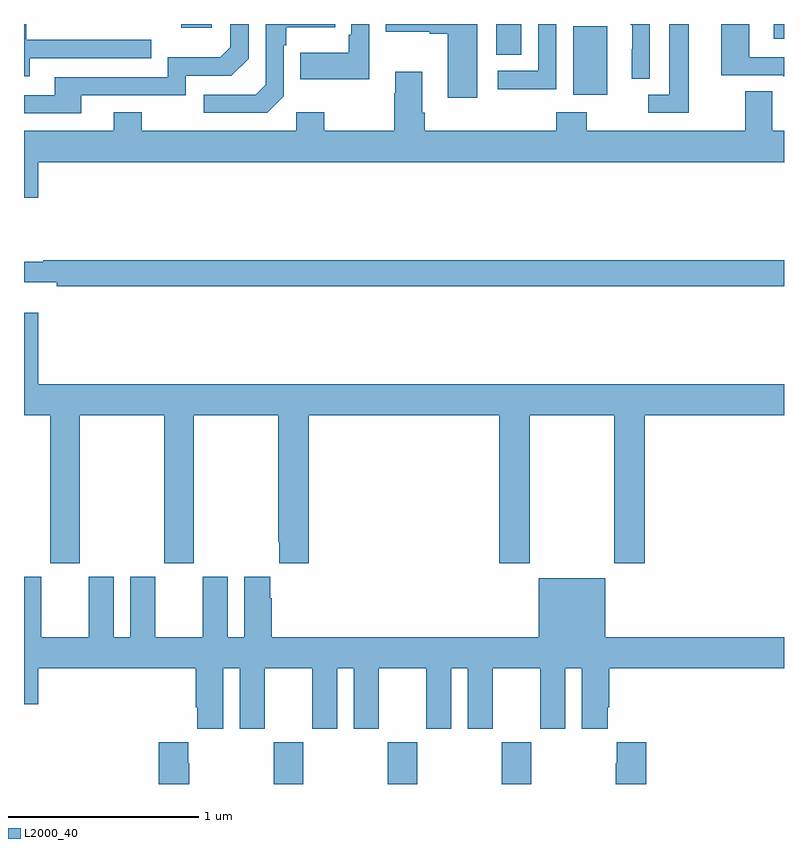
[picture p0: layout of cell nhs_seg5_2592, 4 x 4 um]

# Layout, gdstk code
import gdstk
lib = gdstk.Library(unit=1e-6, precision=1e-09)
def R(c, l, rs):  # rectangles x0, y0, x1, y1
    for r in rs: c.add(gdstk.rectangle(r[:2], r[2:], *l))
def A(c, l, x, y, w, h, nx, ny, dx, dy):  # array of equal rectangles
    R(c, l, [(x+i*dx, y+j*dy, x+i*dx+w, y+j*dy+h) for i in range(nx) for j in range(ny)])
def P(c, l, *ps):  # polygons
    for p in ps: c.add(gdstk.Polygon(p, *l))
L2000_40 = (2000, 40)

nhs_seg5_2592 = lib.new_cell('nhs_seg5_2592')
A(nhs_seg5_2592, L2000_40, 262.315, 874.799, 0.155, 0.221, 3, 1, 0.6, 0)
R(nhs_seg5_2592, L2000_40, [(263.891,878.426,264.07,878.787), (263.486,878.638,263.617,878.799), (264.947,878.721,265,878.799), (261.827,878.78,261.988,878.799)])
P(nhs_seg5_2592, L2000_40, [(261.031,878.619),(261.671,878.619),(261.671,878.715),(261.012,878.715),(261.012,878.799),(261,878.799),(261,878.525),(261.031,878.525)],
  [(262.818,878.799),(262.722,878.799),(262.722,878.743),(262.71,878.743),(262.71,878.647),(262.453,878.647),(262.453,878.507),(262.818,878.507)],
  [(261.301,878.424),(261.852,878.424),(261.852,878.526),(262.092,878.526),(262.182,878.616),(262.182,878.799),(262.086,878.799),(262.086,878.676),(262.033,878.623),(261.756,878.623),(261.756,878.52),(261.161,878.52),(261.161,878.424),(261,878.424),(261,878.328),(261.301,878.328)],
  [(262.368,878.418),(262.368,878.687),(262.381,878.687),(262.381,878.783),(262.637,878.783),(262.637,878.799),(262.272,878.799),(262.272,878.478),(262.221,878.427),(261.945,878.427),(261.945,878.331),(262.281,878.331)],
  [(265,878.625),(264.816,878.625),(264.816,878.799),(264.671,878.799),(264.671,878.529),(264.995,878.529),(264.995,878.525),(265,878.525)],
  [(264.499,878.799),(264.395,878.799),(264.395,878.427),(264.285,878.427),(264.285,878.331),(264.499,878.331)],
  [(264.294,878.799),(264.19,878.799),(264.2,878.789),(264.2,878.666),(264.198,878.666),(264.198,878.512),(264.294,878.512)],
  [(263.802,878.799),(263.706,878.799),(263.706,878.553),(263.493,878.553),(263.493,878.455),(263.802,878.455)],
  [(263.386,878.799),(262.905,878.799),(262.905,878.759),(263.135,878.759),(263.135,878.747),(263.231,878.747),(263.231,878.412),(263.386,878.412)],
  [(261.076,878.072),(265,878.072),(265,878.236),(264.937,878.236),(264.937,878.444),(264.797,878.444),(264.797,878.236),(263.961,878.236),(263.961,878.335),(263.801,878.335),(263.801,878.236),(263.108,878.236),(263.108,878.332),(263.095,878.332),(263.095,878.548),(262.955,878.548),(262.955,878.435),(262.948,878.435),(262.948,878.236),(262.581,878.236),(262.581,878.335),(262.434,878.335),(262.434,878.236),(261.621,878.236),(261.621,878.335),(261.473,878.335),(261.473,878.236),(261,878.236),(261,877.884),(261.076,877.884)],
  [(265,877.556),(261.1,877.556),(261.1,877.549),(261,877.549),(261,877.439),(261.172,877.439),(261.172,877.42),(265,877.42)],
  [(261.294,876.74),(261.739,876.74),(261.739,875.961),(261.894,875.961),(261.894,876.74),(262.339,876.74),(262.339,876.073),(262.343,876.073),(262.343,875.961),(262.499,875.961),(262.499,876.74),(263.501,876.74),(263.501,875.961),(263.661,875.961),(263.661,876.74),(264.106,876.74),(264.106,875.961),(264.266,875.961),(264.266,876.74),(265,876.74),(265,876.904),(261.076,876.904),(261.076,877.279),(261,877.279),(261,876.74),(261.139,876.74),(261.139,875.961),(261.294,875.961)],
  [(262.048,875.408),(262.136,875.408),(262.136,875.091),(262.267,875.091),(262.267,875.408),(262.517,875.408),(262.517,875.091),(262.648,875.091),(262.648,875.408),(262.736,875.408),(262.736,875.091),(262.867,875.091),(262.867,875.408),(263.117,875.408),(263.117,875.091),(263.248,875.091),(263.248,875.408),(263.336,875.408),(263.336,875.091),(263.467,875.091),(263.467,875.408),(263.717,875.408),(263.717,875.091),(263.848,875.091),(263.848,875.408),(263.936,875.408),(263.936,875.091),(264.073,875.091),(264.073,875.203),(264.08,875.203),(264.08,875.408),(265,875.408),(265,875.572),(264.058,875.572),(264.058,875.881),(263.708,875.881),(263.708,875.572),(262.304,875.572),(262.304,875.777),(262.297,875.777),(262.297,875.89),(262.16,875.89),(262.16,875.572),(262.072,875.572),(262.072,875.89),(261.941,875.89),(261.941,875.572),(261.691,875.572),(261.691,875.89),(261.56,875.89),(261.56,875.572),(261.472,875.572),(261.472,875.89),(261.341,875.89),(261.341,875.572),(261.091,875.572),(261.091,875.89),(261,875.89),(261,875.22),(261.076,875.22),(261.076,875.408),(261.904,875.408),(261.904,875.203),(261.911,875.203),(261.911,875.091),(262.048,875.091)],
  [(264.275,875.02),(264.119,875.02),(264.119,874.907),(264.115,874.907),(264.115,874.799),(264.275,874.799)],
  [(261.87,874.907),(261.865,874.907),(261.865,875.02),(261.71,875.02),(261.71,874.799),(261.87,874.799)])

lib.write_gds('nhs_seg5_2592.gds')
